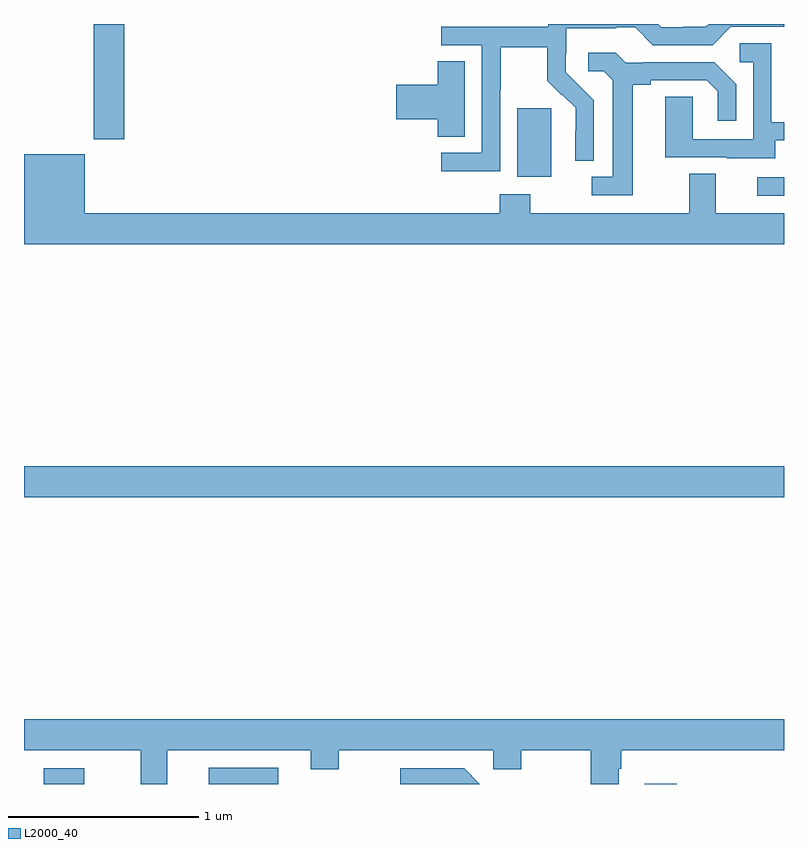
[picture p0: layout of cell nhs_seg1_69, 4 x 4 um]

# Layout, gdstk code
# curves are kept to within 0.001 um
import gdstk
lib = gdstk.Library(unit=1e-6, precision=1e-09)
def R(c, l, rs):  # rectangles x0, y0, x1, y1
    for r in rs: c.add(gdstk.rectangle(r[:2], r[2:], *l))
def P(c, l, *ps):  # polygons
    for p in ps: c.add(gdstk.Polygon(p, *l))
L2000_40 = (2000, 40)

nhs_seg1_69 = lib.new_cell('nhs_seg1_69')
R(nhs_seg1_69, L2000_40, [(113.103,574.199,113.317,574.281), (113.973,574.199,114.337,574.284), (116.267,574.199,116.435,574.201), (113,575.708,117,575.872), (116.859,577.296,117,577.392), (115.595,577.394,115.774,577.755), (113.368,577.593,113.528,578.199)])
P(nhs_seg1_69, L2000_40, [(115.506,577.852),(115.509,577.852),(115.509,578.076),(115.753,578.076),(115.753,577.901),(115.83,577.824),(115.833,577.827),(115.904,577.757),(115.904,577.634),(115.902,577.634),(115.902,577.48),(115.998,577.48),(115.998,577.798),(115.852,577.946),(115.852,578.043),(115.854,578.043),(115.854,578.177),(116.117,578.177),(116.117,578.181),(116.217,578.181),(116.31,578.088),(116.625,578.088),(116.721,578.184),(117,578.184),(117,578.199),(116.604,578.199),(116.589,578.184),(116.471,578.184),(116.471,578.181),(116.355,578.181),(116.337,578.199),(115.758,578.199),(115.758,578.184),(115.197,578.184),(115.197,578.088),(115.41,578.088),(115.41,577.521),(115.197,577.521),(115.197,577.423),(115.506,577.423)],
  [(116.953,577.587),(117,577.587),(117,577.683),(116.934,577.683),(116.934,578.099),(116.766,578.099),(116.766,577.998),(116.838,577.998),(116.838,577.593),(116.52,577.593),(116.52,577.817),(116.375,577.817),(116.375,577.497),(116.699,577.497),(116.699,577.493),(116.953,577.493)],
  [(116.203,577.88),(116.299,577.88),(116.299,577.902),(116.594,577.902),(116.651,577.845),(116.651,577.689),(116.748,577.689),(116.748,577.882),(116.632,577.998),(116.26,577.998),(116.26,577.995),(116.166,577.995),(116.114,578.047),(115.971,578.047),(115.971,577.95),(116.052,577.95),(116.099,577.903),(116.099,577.395),(115.989,577.395),(115.989,577.299),(116.203,577.299)],
  [(115.321,578.003),(115.178,578.003),(115.178,577.88),(114.96,577.88),(114.96,577.697),(115.178,577.697),(115.178,577.606),(115.321,577.606)],
  [(117,577.204),(116.641,577.204),(116.641,577.412),(116.501,577.412),(116.501,577.204),(115.665,577.204),(115.665,577.303),(115.505,577.303),(115.505,577.204),(113.32,577.204),(113.32,577.513),(113,577.513),(113,577.04),(117,577.04)],
  [(113.755,574.376),(114.509,574.376),(114.509,574.277),(114.657,574.277),(114.657,574.376),(115.47,574.376),(115.47,574.277),(115.617,574.277),(115.617,574.376),(115.984,574.376),(115.984,574.199),(116.131,574.199),(116.131,574.28),(116.144,574.28),(116.144,574.376),(117,574.376),(117,574.54),(113,574.54),(113,574.376),(113.615,574.376),(113.615,574.199),(113.755,574.199)],
  [(115.317,574.281),(114.981,574.281),(114.981,574.199),(115.399,574.199)])

lib.write_gds('nhs_seg1_69.gds')
